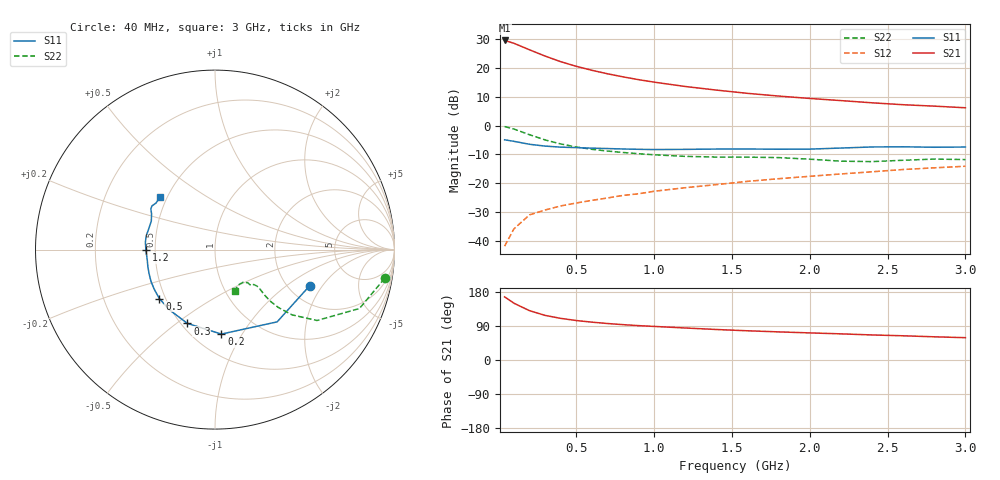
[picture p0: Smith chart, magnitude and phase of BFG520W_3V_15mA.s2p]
! Filename:  BFG520WD.S2P  Version:  4.0
! Philips part #: BFG520  Date: Jun 1994
! Bias condition: Vce=3.0V, Ic=15.0mA
! IN LINE PINNING: same data as with cross emitter pinning.
#  MHz  S  MA  R  50
! Freq  S11  S21  S12  S22  !GUM [dB]
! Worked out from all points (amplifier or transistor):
!   21 points, 40 MHz to 3 GHz, reference 50 ohm
!   highest |S21| = 29.6 dB at 40 MHz (marker M1)
!   |S21| within 3 dB of that: start of sweep to 189.1 MHz
!   unconditionally stable (mu >= 1): 876.5 MHz to end of sweep
!   at 300 MHz: K = 0.57, MSG = 26.8 dB, |S12| = -29.4 dB
!   at 1 GHz: K = 1.03, MAG = 17.9 dB, |S12| = -22.9 dB
!   at 3 GHz: K = 1.11, MAG = 8.2 dB, |S12| = -14.2 dB
!   S11 on the Smith chart (normalised r, x): 40 MHz: 2.59, -1.53; 200 MHz: 0.67, -0.82; 300 MHz: 0.54, -0.55; 500 MHz: 0.46, -0.31; 1.2 GHz: 0.44, -0.00; 3 GHz: 0.46, +0.33
40  0.565 -20.8  30.09 166.7  0.008 80.8  0.959 -9.6
100  0.531 -49.3  26.87 149.8  0.016 72.6  0.869 -22.2
200  0.472 -85.7  20.71 130.2  0.028 62.4  0.692 -34.8
300  0.439 -110.5  16.1 117.7  0.034 59.5  0.562 -40.3
400  0.421 -126.9  12.88 109.9  0.04 60.0  0.479 -42.4
500  0.413 -138.6  10.7 104.2  0.045 60.8  0.424 -43.0
600  0.404 -147.1  9.123 99.9  0.05 62.5  0.386 -42.7
700  0.398 -153.7  7.942 96.3  0.055 64.0  0.36 -42.1
800  0.391 -159.9  7.017 93.3  0.061 65.6  0.34 -41.5
900  0.386 -165.7  6.272 90.7  0.065 67.6  0.324 -41.1
1000  0.382 -170.8  5.677 88.6  0.072 68.7  0.31 -41.0
1200  0.385 -179.7  4.769 84.5  0.083 70.1  0.291 -42.0
1400  0.39 174.0  4.13 80.5  0.094 71.5  0.283 -43.9
1600  0.391 169.0  3.625 77.1  0.107 73.1  0.282 -45.0
1800  0.387 162.6  3.251 74.2  0.119 73.0  0.277 -45.1
2000  0.389 155.8  2.954 71.5  0.131 73.6  0.26 -45.3
2200  0.406 150.5  2.712 69.0  0.144 73.2  0.24 -49.4
2400  0.424 147.5  2.482 66.1  0.157 74.3  0.236 -56.7
2600  0.427 145.2  2.299 63.9  0.172 74.4  0.249 -62.2
2800  0.419 141.8  2.172 61.2  0.184 73.5  0.261 -63.5
3000  0.423 136.2  2.034 58.9  0.196 73.7  0.256 -64.0
